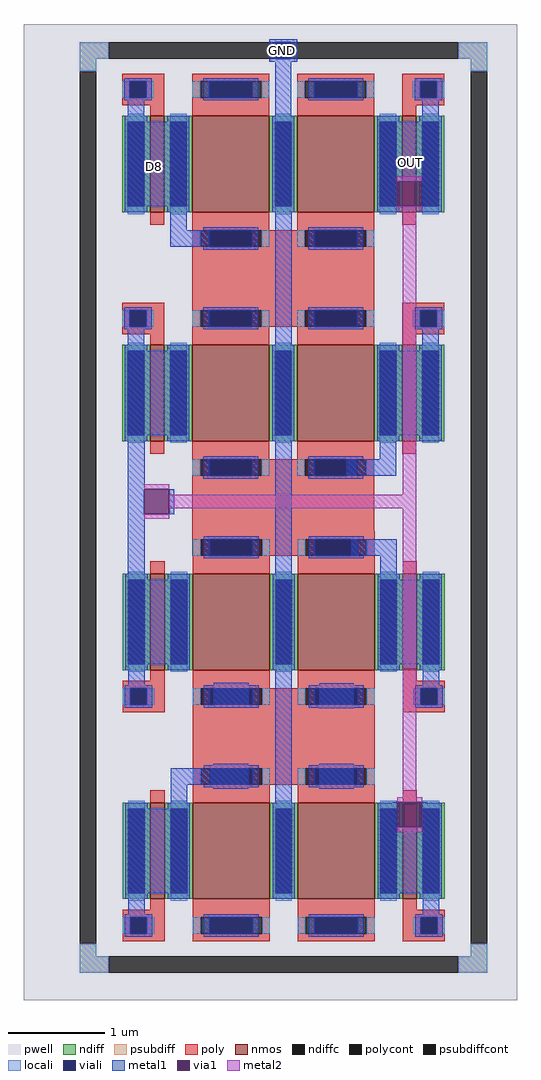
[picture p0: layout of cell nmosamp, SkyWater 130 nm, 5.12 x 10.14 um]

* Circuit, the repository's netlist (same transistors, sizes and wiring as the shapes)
** sch_path: /home/surya/opamp/mag/nmosamp.sch
.subckt nmosamp D8 OUT gnd
*.PININFO gnd:B D8:B OUT:B
XM8 D8 D8 gnd gnd sky130_fd_pr__nfet_01v8 L=0.8 W=1 nf=1 m=4
XM9 OUT D8 gnd gnd sky130_fd_pr__nfet_01v8 L=0.8 W=1 nf=1 m=4
XM1 D8 D8 D8 gnd sky130_fd_pr__nfet_01v8 L=0.15 W=1 nf=1 m=4
XM2 OUT OUT OUT gnd sky130_fd_pr__nfet_01v8 L=0.15 W=1 nf=1 m=4
.ends
.end

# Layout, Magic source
magic
tech sky130A
magscale 1 2
<< pwell >>
rect -292 -1074 733 955
<< psubdiff >>
rect -176 883 -116 917
rect 611 883 671 917
rect -176 857 -142 883
rect 637 857 671 883
rect -176 -983 -142 -957
rect 637 -983 671 -957
rect -176 -1017 -116 -983
rect 611 -1017 671 -983
<< psubdiffcont >>
rect -116 883 611 917
rect -176 -957 -142 857
rect 637 -957 671 857
rect -116 -1017 611 -983
<< poly >>
rect -88 836 0 852
rect -88 802 -72 836
rect -38 802 0 836
rect -88 786 0 802
rect -30 780 0 786
rect 494 836 582 852
rect 494 802 532 836
rect 566 802 582 836
rect 494 786 582 802
rect 494 784 524 786
rect -88 360 0 376
rect -88 326 -72 360
rect -38 326 0 360
rect 58 326 436 526
rect 494 360 582 376
rect 494 326 532 360
rect 566 326 582 360
rect -88 314 0 326
rect -88 310 -22 314
rect 494 310 582 326
rect 494 306 524 310
rect 58 -150 436 50
rect 495 -410 525 -384
rect -87 -411 -21 -410
rect -87 -426 1 -411
rect 495 -426 583 -410
rect -87 -460 -71 -426
rect -37 -460 1 -426
rect -87 -476 1 -460
rect 59 -626 437 -426
rect 495 -460 533 -426
rect 567 -460 583 -426
rect 495 -476 583 -460
rect -29 -886 1 -866
rect -87 -902 1 -886
rect -87 -936 -71 -902
rect -37 -936 1 -902
rect -87 -952 1 -936
rect 495 -886 525 -866
rect 495 -902 583 -886
rect 495 -936 533 -902
rect 567 -936 583 -902
rect 495 -952 583 -936
<< polycont >>
rect -72 802 -38 836
rect 532 802 566 836
rect -72 326 -38 360
rect 532 326 566 360
rect -71 -460 -37 -426
rect 533 -460 567 -426
rect -71 -936 -37 -902
rect 533 -936 567 -902
<< locali >>
rect -176 883 -116 917
rect 611 883 671 917
rect -176 857 -142 883
rect 637 857 671 883
rect -88 802 -72 836
rect -38 802 -22 836
rect 516 802 532 836
rect 566 802 582 836
rect -88 326 -72 360
rect -38 326 -22 360
rect 516 326 532 360
rect 566 326 582 360
rect -87 -460 -71 -426
rect -37 -460 -21 -426
rect 517 -460 533 -426
rect 567 -460 583 -426
rect -87 -936 -71 -902
rect -37 -936 -21 -902
rect 517 -936 533 -902
rect 567 -936 583 -902
rect -176 -983 -142 -957
rect 637 -983 671 -957
rect -176 -1017 -116 -983
rect 611 -1017 671 -983
<< viali >>
rect 230 883 264 917
rect -72 802 -38 836
rect 532 802 566 836
rect -72 326 -38 360
rect 532 326 566 360
rect -71 -460 -37 -426
rect 533 -460 567 -426
rect -71 -936 -37 -902
rect 533 -936 567 -902
<< metal1 >>
rect 218 917 276 923
rect 218 883 230 917
rect 264 883 276 917
rect 218 877 276 883
rect -84 836 -26 842
rect -84 802 -72 836
rect -38 802 -26 836
rect -84 796 -26 802
rect -76 752 -42 796
rect 230 752 264 877
rect 520 836 578 842
rect 520 802 532 836
rect 566 802 578 836
rect 520 796 578 802
rect 536 752 570 796
rect -76 576 46 752
rect 12 526 46 576
rect 12 492 86 526
rect -84 360 -26 366
rect -84 326 -72 360
rect -38 326 -26 360
rect -84 320 -26 326
rect -76 276 -42 320
rect -76 100 46 276
rect -76 -12 -41 100
rect -76 -64 -42 -12
rect 10 -64 20 -12
rect -76 -200 -41 -64
rect -76 -212 47 -200
rect -75 -376 47 -212
rect -75 -420 -41 -376
rect -83 -426 -25 -420
rect -83 -460 -71 -426
rect -37 -460 -25 -426
rect -83 -466 -25 -460
rect 103 -466 175 -414
rect 102 -592 174 -583
rect 13 -626 174 -592
rect 13 -676 47 -626
rect 102 -635 174 -626
rect -75 -852 47 -676
rect 230 -852 265 752
rect 448 628 570 752
rect 448 576 483 628
rect 535 576 570 628
rect 520 360 578 366
rect 520 326 532 360
rect 566 326 578 360
rect 520 320 578 326
rect 536 276 570 320
rect 448 100 570 276
rect 448 50 482 100
rect 379 16 482 50
rect 388 -150 483 -116
rect 449 -200 483 -150
rect 449 -376 571 -200
rect 322 -468 394 -416
rect 537 -420 571 -376
rect 521 -426 579 -420
rect 521 -460 533 -426
rect 567 -460 579 -426
rect 521 -466 579 -460
rect 322 -635 394 -583
rect 474 -676 484 -663
rect 449 -715 484 -676
rect 536 -676 546 -663
rect 536 -715 571 -676
rect 449 -852 571 -715
rect -75 -896 -41 -852
rect 537 -896 571 -854
rect -83 -902 -25 -896
rect -83 -936 -71 -902
rect -37 -936 -25 -902
rect -83 -942 -25 -936
rect 521 -902 579 -896
rect 521 -936 533 -902
rect 567 -936 579 -902
rect 521 -942 579 -936
<< via1 >>
rect -42 -64 10 -12
rect 483 576 535 628
rect 484 -715 536 -663
<< metal2 >>
rect 483 628 535 638
rect 483 566 535 576
rect -42 -12 10 -2
rect 495 -24 523 566
rect 10 -52 523 -24
rect -42 -74 10 -64
rect 495 -653 523 -52
rect 484 -663 536 -653
rect 484 -725 536 -715
use sky130_fd_pr__nfet_01v8_5MNGEB  sky130_fd_pr__nfet_01v8_5MNGEB_0
transform 1 0 247 0 1 664
box -247 -188 247 188
use sky130_fd_pr__nfet_01v8_5MNGEB  sky130_fd_pr__nfet_01v8_5MNGEB_1
transform 1 0 247 0 1 188
box -247 -188 247 188
use sky130_fd_pr__nfet_01v8_5MNGEB  sky130_fd_pr__nfet_01v8_5MNGEB_2
transform 1 0 248 0 1 -288
box -247 -188 247 188
use sky130_fd_pr__nfet_01v8_5MNGEB  sky130_fd_pr__nfet_01v8_5MNGEB_3
transform 1 0 248 0 1 -764
box -247 -188 247 188
use sky130_fd_pr__nfet_01v8_6H9P4D  sky130_fd_pr__nfet_01v8_6H9P4D_0
transform 1 0 -14 0 1 -764
box -73 -126 73 126
use sky130_fd_pr__nfet_01v8_6H9P4D  sky130_fd_pr__nfet_01v8_6H9P4D_1
transform 1 0 -14 0 1 -288
box -73 -126 73 126
use sky130_fd_pr__nfet_01v8_6H9P4D  sky130_fd_pr__nfet_01v8_6H9P4D_2
transform 1 0 510 0 1 -288
box -73 -126 73 126
use sky130_fd_pr__nfet_01v8_6H9P4D  sky130_fd_pr__nfet_01v8_6H9P4D_3
transform 1 0 509 0 1 188
box -73 -126 73 126
use sky130_fd_pr__nfet_01v8_6H9P4D  sky130_fd_pr__nfet_01v8_6H9P4D_4
transform 1 0 509 0 1 664
box -73 -126 73 126
use sky130_fd_pr__nfet_01v8_6H9P4D  sky130_fd_pr__nfet_01v8_6H9P4D_5
transform 1 0 -15 0 1 664
box -73 -126 73 126
use sky130_fd_pr__nfet_01v8_6H9P4D  sky130_fd_pr__nfet_01v8_6H9P4D_6
transform 1 0 -15 0 1 188
box -73 -126 73 126
use sky130_fd_pr__nfet_01v8_6H9P4D  sky130_fd_pr__nfet_01v8_6H9P4D_7
transform 1 0 510 0 1 -764
box -73 -126 73 126
<< labels >>
flabel viali 246 899 246 899 0 FreeSans 480 0 0 0 GND
port 0 nsew
flabel metal1 -21 659 -21 659 0 FreeSans 480 0 0 0 D8
port 1 nsew
flabel metal1 511 668 511 668 0 FreeSans 480 0 0 0 OUT
port 2 nsew
<< end >>

# cell sky130_fd_pr__nfet_01v8_5MNGEB: kit device sky130_fd_pr__nfet_01v8, w 1 l 0.8 m 1 nf 2 diffcov 100 polycov 100 guard 0 glc 1 grc 1 gtc 1 gbc 1 tbcov 100 rlcov 100 topc 1 botc 1 poverlap 0 doverlap 1 lmin 0.15 wmin 0.42 compatible {sky130_fd_pr__nfet_01v8 sky130_fd_pr__nfet_01v8_lvt sky130_fd_bs_flash__special_sonosfet_star sky130_fd_pr__nfet_g5v0d10v5 sky130_fd_pr__nfet_05v0_nvt sky130_fd_pr__nfet_03v3_nvt} full_metal 1 viasrc 100 viadrn 100 viagate 70 viagb 0 viagr 0 viagl 0 viagt 0

# cell sky130_fd_pr__nfet_01v8_6H9P4D: kit device sky130_fd_pr__nfet_01v8, w 1 l 0.150 m 1 nf 1 diffcov 100 polycov 100 guard 0 glc 1 grc 1 gtc 1 gbc 1 tbcov 100 rlcov 100 topc 0 botc 0 poverlap 0 doverlap 1 lmin 0.15 wmin 0.42 compatible {sky130_fd_pr__nfet_01v8 sky130_fd_pr__nfet_01v8_lvt sky130_fd_bs_flash__special_sonosfet_star sky130_fd_pr__nfet_g5v0d10v5 sky130_fd_pr__nfet_05v0_nvt sky130_fd_pr__nfet_03v3_nvt} full_metal 1 viasrc 100 viadrn 100 viagate 100 viagb 0 viagr 0 viagl 0 viagt 0
